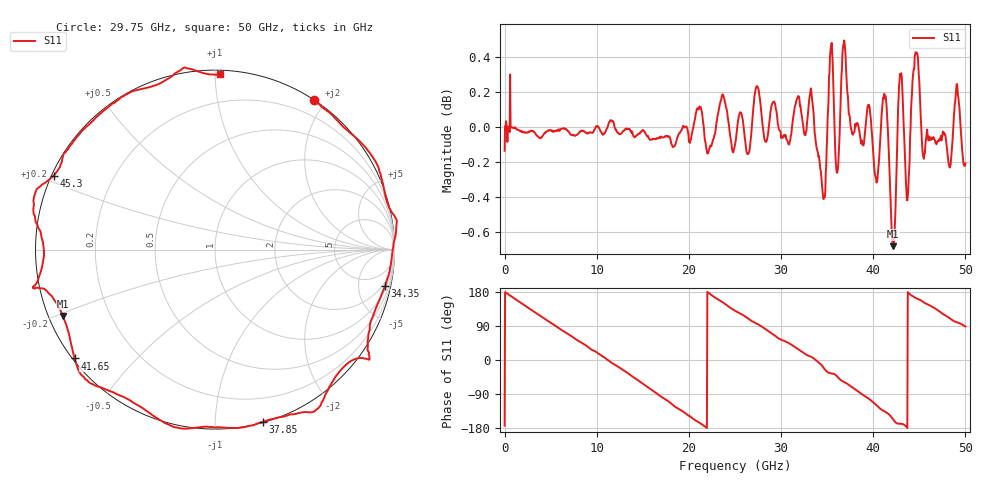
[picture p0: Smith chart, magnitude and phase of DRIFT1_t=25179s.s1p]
!Created with skrf (http://scikit-rf.org).
# Hz S RI R 50.0
!freq ReS11 ImS11
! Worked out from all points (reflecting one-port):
!   1001 points, 300 kHz to 50 GHz, reference 50 ohm
!   lowest |S11| = -0.7 dB at 42.15 GHz (marker M1), VSWR 25.58, Z = 2.04 - j10.4 ohm
!   phase of S11 starts at -173 deg and turns -818 deg over the sweep
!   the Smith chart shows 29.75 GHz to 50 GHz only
!   S11 on the Smith chart (normalised r, x): 29.75 GHz: 0.00, +1.86; 34.35 GHz: 1.38, -9.20; 37.85 GHz: 0.01, -1.32; 41.65 GHz: 0.01, -0.34; 45.3 GHz: 0.01, +0.22; 50 GHz: 0.02, +1.03
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300000  -0.978 -0.1124
1.450291e9  -0.9123 0.4051
3.25028e9  -0.592 0.8014
6.250262e9  0.202 0.9782
9.450243e9  0.8866 0.4543
1.250022e10  0.9318 -0.3496
1.580021e10  0.2375 -0.9626
1.73502e10  -0.211 -0.9706
1.875019e10  -0.5985 -0.7924
2.150017e10  -0.9931 -0.1527
2.350016e10  -0.9234 0.4281
2.500015e10  -0.6336 0.7587
2.740014e10  -0.0956 1.023
2.975012e10  0.5509 0.833
3.125011e10  0.7876 0.6211
3.31501e10  1.007 0.1739
3.435009e10  0.9473 -0.2038
3.520009e10  0.8588 -0.5747
3.750008e10  0.3705 -0.9323
3.785007e10  0.2688 -0.9591
3.960006e10  -0.238 -0.9849
4.165005e10  -0.7823 -0.6066
4.215005e10  -0.8473 -0.3704
4.290004e10  -1.013 -0.2158
4.375004e10  -0.9554 0.0154
4.530003e10  -0.8982 0.4127
4.770001e10  -0.489 0.8668
5e10  0.0254 0.976
